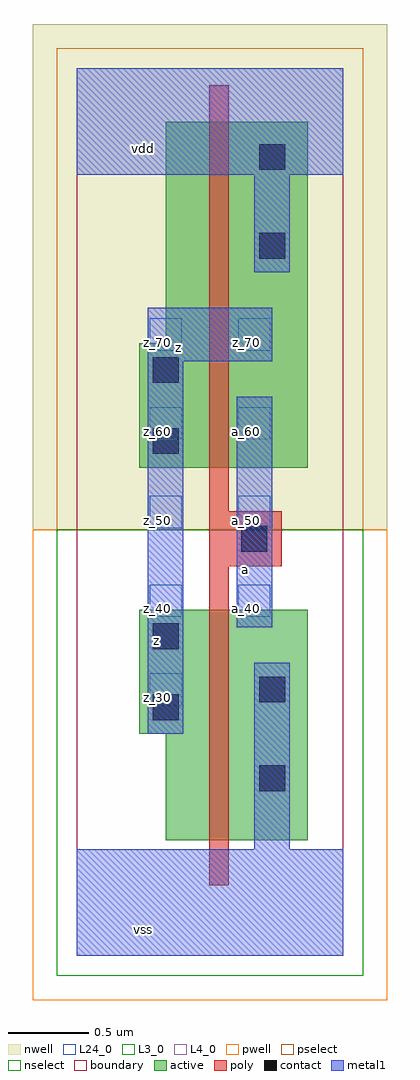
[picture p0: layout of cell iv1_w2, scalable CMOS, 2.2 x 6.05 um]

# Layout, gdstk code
import gdstk
lib = gdstk.Library(unit=1e-6, precision=2.5e-09)
def R(c, l, rs):  # rectangles x0, y0, x1, y1
    for r in rs: c.add(gdstk.rectangle(r[:2], r[2:], *l))
def A(c, l, x, y, w, h, nx, ny, dx, dy):  # array of equal rectangles
    R(c, l, [(x+i*dx, y+j*dy, x+i*dx+w, y+j*dy+h) for i in range(nx) for j in range(ny)])
L3_0 = (3, 0)
L4_0 = (4, 0)
L24_0 = (24, 0)
contact = (25, 0)
pwell = (41, 0)
nwell = (42, 0)
active = (43, 0)
pselect = (44, 0)
nselect = (45, 0)
poly = (46, 0)
metal1 = (49, 0)
boundary = (63, 0)

iv1_w2 = lib.new_cell('iv1_w2')
R(iv1_w2, L3_0, [(0.55,0.715,1.43,1.375), (0.385,1.375,1.43,2.145)])
R(iv1_w2, L4_0, [(0.385,3.025,1.43,3.795), (0.55,3.795,1.43,5.17)])
A(iv1_w2, L24_0, 0.45, 1.55, 0.2, 0.2, 1, 5, 0, 0.55)
A(iv1_w2, L24_0, 1, 2.1, 0.2, 0.2, 1, 4, 0, 0.55)
R(iv1_w2, contact, [(1.13,1.02,1.29,1.18), (0.47,1.46,0.63,1.62), (1.13,1.57,1.29,1.73), (0.47,1.9,0.63,2.06), (1.02,2.505,1.18,2.665), (0.47,3.11,0.63,3.27), (0.47,3.55,0.63,3.71), (1.13,4.32,1.29,4.48), (1.13,4.87,1.29,5.03)])
R(iv1_w2, pwell, [(-0.275,-0.275,1.925,2.64)])
R(iv1_w2, nwell, [(-0.275,2.64,1.925,5.775)])
R(iv1_w2, active, [(0.55,0.715,1.43,1.375), (0.385,1.375,1.43,2.145), (0.385,3.025,1.43,3.795), (0.55,3.795,1.43,5.17)])
R(iv1_w2, pselect, [(-0.125,2.64,1.775,5.625)])
R(iv1_w2, nselect, [(-0.125,-0.125,1.775,2.64)])
R(iv1_w2, poly, [(0.82,0.435,0.94,2.415), (0.82,2.415,1.27,2.755), (0.82,2.755,0.94,5.395)])
R(iv1_w2, metal1, [(0,0,1.65,0.66), (1.1,0.66,1.32,1.815), (0.44,1.375,0.66,3.685), (0.99,2.035,1.21,3.465), (0.44,3.685,1.21,4.015), (1.1,4.235,1.32,4.84), (0,4.84,1.65,5.5)])
R(iv1_w2, boundary, [(0,0,1.65,5.5)])
iv1_w2.add(gdstk.Label('vss', (0.4125,0.165), layer=49, texttype=0))
iv1_w2.add(gdstk.Label('a', (1.045,2.3925), layer=49, texttype=0))
iv1_w2.add(gdstk.Label('z', (0.495,1.9525), layer=49, texttype=0))
iv1_w2.add(gdstk.Label('z', (0.6325,3.7675), layer=49, texttype=0))
iv1_w2.add(gdstk.Label('vdd', (0.4125,5.005), layer=49, texttype=0))
iv1_w2.add(gdstk.Label('z_30', (0.5,1.6), layer=24, texttype=0))
iv1_w2.add(gdstk.Label('a_40', (1.05,2.15), layer=24, texttype=0))
iv1_w2.add(gdstk.Label('z_70', (0.5,3.8), layer=24, texttype=0))
iv1_w2.add(gdstk.Label('a_60', (1.05,3.25), layer=24, texttype=0))
iv1_w2.add(gdstk.Label('a_50', (1.05,2.7), layer=24, texttype=0))
iv1_w2.add(gdstk.Label('z_60', (0.5,3.25), layer=24, texttype=0))
iv1_w2.add(gdstk.Label('z_40', (0.5,2.15), layer=24, texttype=0))
iv1_w2.add(gdstk.Label('z_50', (0.5,2.7), layer=24, texttype=0))
iv1_w2.add(gdstk.Label('z_70', (1.05,3.8), layer=24, texttype=0))

lib.write_gds('iv1_w2.gds')
